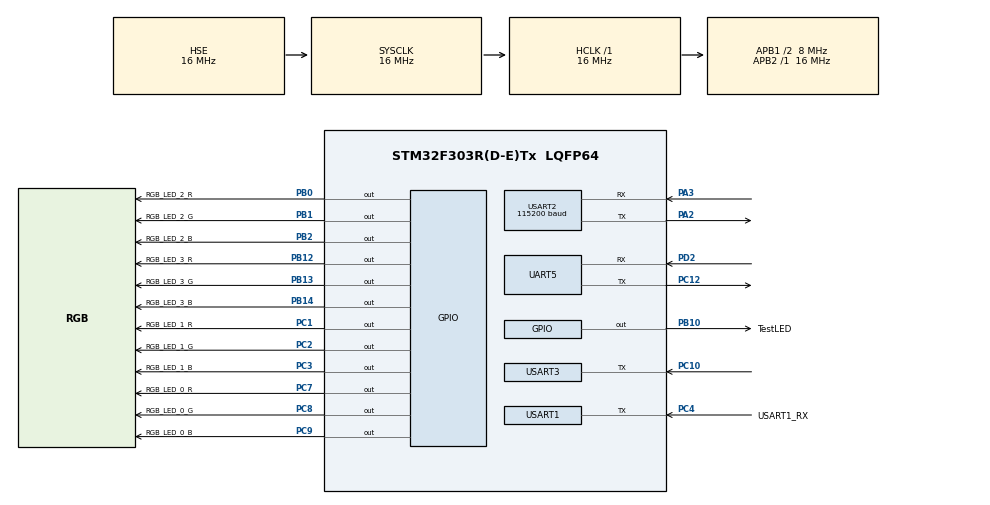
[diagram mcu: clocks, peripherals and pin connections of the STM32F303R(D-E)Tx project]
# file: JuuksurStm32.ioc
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Dma.Request0=USART2_TX
Dma.USART2_TX.0.Direction=DMA_MEMORY_TO_PERIPH
Dma.USART2_TX.0.Instance=DMA1_Channel7
Dma.USART2_TX.0.MemDataAlignment=DMA_MDATAALIGN_BYTE
Dma.USART2_TX.0.MemInc=DMA_MINC_ENABLE
Dma.USART2_TX.0.Mode=DMA_NORMAL
Dma.USART2_TX.0.PeriphDataAlignment=DMA_PDATAALIGN_BYTE
Dma.USART2_TX.0.PeriphInc=DMA_PINC_DISABLE
Dma.USART2_TX.0.Priority=DMA_PRIORITY_LOW
Mcu.Family=STM32F3
Mcu.Name=STM32F303R(D-E)Tx
Mcu.Package=LQFP64
NVIC.DMA1_Channel7_IRQn=true\:1\:0\:true\:false\:true\:false\:true\:true
NVIC.PriorityGroup=NVIC_PRIORITYGROUP_4
NVIC.TIM6_DAC_IRQn=true\:2\:0\:true\:false\:true\:true\:true\:true
NVIC.TIM7_IRQn=true\:2\:0\:true\:false\:true\:true\:true\:true
NVIC.UART5_IRQn=true\:0\:0\:false\:false\:true\:true\:true\:true
NVIC.USART2_IRQn=true\:0\:0\:false\:false\:true\:true\:true\:true
PA13.Mode=Serial_Wire
PA13.Signal=SYS_JTMS-SWDIO
PA14.Mode=Serial_Wire
PA14.Signal=SYS_JTCK-SWCLK
PA2.Mode=Asynchronous
PA2.Signal=USART2_TX
PA3.Mode=Asynchronous
PA3.Signal=USART2_RX
PB0.GPIO_Label=RGB_LED_2_R
PB0.Signal=GPIO_Output
PB1.GPIO_Label=RGB_LED_2_G
PB1.Signal=GPIO_Output
PB10.GPIO_Label=TestLED
PB10.Signal=GPIO_Output
PB11.Signal=USART3_RX
PB12.GPIO_Label=RGB_LED_3_R
PB12.Signal=GPIO_Output
PB13.GPIO_Label=RGB_LED_3_G
PB13.Signal=GPIO_Output
PB14.GPIO_Label=RGB_LED_3_B
PB14.Signal=GPIO_Output
PB2.GPIO_Label=RGB_LED_2_B
PB2.Signal=GPIO_Output
PC1.GPIO_Label=RGB_LED_1_R
PC1.Signal=GPIO_Output
PC10.Mode=Half_duplex(single_wire_mode)
PC10.Signal=USART3_TX
PC12.Mode=Asynchronous
PC12.Signal=UART5_TX
PC2.GPIO_Label=RGB_LED_1_G
PC2.Signal=GPIO_Output
PC3.GPIO_Label=RGB_LED_1_B
PC3.Signal=GPIO_Output
PC4.GPIO_Label=USART1_RX
PC4.Mode=Half_duplex(single_wire_mode)
PC4.Signal=USART1_TX
PC7.GPIO_Label=RGB_LED_0_R
PC7.Signal=GPIO_Output
PC8.GPIO_Label=RGB_LED_0_G
PC8.Signal=GPIO_Output
PC9.GPIO_Label=RGB_LED_0_B
PC9.Signal=GPIO_Output
PD2.Mode=Asynchronous
PD2.Signal=UART5_RX
PF0-OSC_IN.Mode=HSE-External-Oscillator
PF0-OSC_IN.Signal=RCC_OSC_IN
PF1-OSC_OUT.Mode=HSE-External-Oscillator
PF1-OSC_OUT.Signal=RCC_OSC_OUT
ProjectManager.HeapSize=0x200
ProjectManager.StackSize=0x400
ProjectManager.TargetToolchain=STM32CubeIDE
RCC.AHBFreq_Value=16000000
RCC.APB1CLKDivider=RCC_HCLK_DIV2
RCC.APB1Freq_Value=8000000
RCC.APB1TimFreq_Value=16000000
RCC.APB2Freq_Value=16000000
RCC.APB2TimFreq_Value=16000000
RCC.CortexFreq_Value=16000000
RCC.HCLKFreq_Value=16000000
RCC.HSE_VALUE=16000000
RCC.HSI_VALUE=8000000
RCC.LSE_VALUE=32768
RCC.PLLSourceVirtual=RCC_PLLSOURCE_HSE
RCC.SYSCLKFreq_VALUE=16000000
RCC.SYSCLKSourceVirtual=RCC_SYSCLKSOURCE_HSE
RCC.USBFreq_Value=32000000
TIM6.AutoReloadPreload=TIM_AUTORELOAD_PRELOAD_DISABLE
TIM6.Period=56000-1
TIM6.Prescaler=4-1
TIM7.AutoReloadPreload=TIM_AUTORELOAD_PRELOAD_DISABLE
TIM7.Period=53000-1
TIM7.Prescaler=4-1
USART1.Mode=MODE_RX
USART1.VirtualMode-Half_duplex(single_wire_mode)=VM_ASYNC
USART2.BaudRate=115200
USART2.VirtualMode-Asynchronous=VM_ASYNC
USART3.BaudRate=115200
USART3.Mode=MODE_RX
USART3.VirtualMode-Half_duplex(single_wire_mode)=VM_ASYNC
VP_TIM6_VS_ClockSourceINT.Mode=Enable_Timer
VP_TIM7_VS_ClockSourceINT.Mode=Enable_Timer
board=custom

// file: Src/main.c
/* USER CODE BEGIN Header */
/**
  ******************************************************************************
  * @file           : main.c
  * @brief          : Main program body
  ******************************************************************************
  ** This notice applies to any and all portions of this file
  * that are not between comment pairs USER CODE BEGIN and
  * USER CODE END. Other portions of this file, whether
  * inserted by the user or by software development tools
  * are owned by their respective copyright owners.
  *
  * COPYRIGHT(c) 2019 STMicroelectronics
  *
  * Redistribution and use in source and binary forms, with or without modification,
  * are permitted provided that the following conditions are met:
  *   1. Redistributions of source code must retain the above copyright notice,
  *      this list of conditions and the following disclaimer.
  *   2. Redistributions in binary form must reproduce the above copyright notice,
  *      this list of conditions and the following disclaimer in the documentation
  *      and/or other materials provided with the distribution.
  *   3. Neither the name of STMicroelectronics nor the names of its contributors
  *      may be used to endorse or promote products derived from this software
  *      without specific prior written permission.
  *
  * THIS SOFTWARE IS PROVIDED BY THE COPYRIGHT HOLDERS AND CONTRIBUTORS "AS IS"
  * AND ANY EXPRESS OR IMPLIED WARRANTIES, INCLUDING, BUT NOT LIMITED TO, THE
  * IMPLIED WARRANTIES OF MERCHANTABILITY AND FITNESS FOR A PARTICULAR PURPOSE ARE
  * DISCLAIMED. IN NO EVENT SHALL THE COPYRIGHT HOLDER OR CONTRIBUTORS BE LIABLE
  * FOR ANY DIRECT, INDIRECT, INCIDENTAL, SPECIAL, EXEMPLARY, OR CONSEQUENTIAL
  * DAMAGES (INCLUDING, BUT NOT LIMITED TO, PROCUREMENT OF SUBSTITUTE GOODS OR
  * SERVICES; LOSS OF USE, DATA, OR PROFITS; OR BUSINESS INTERRUPTION) HOWEVER
  * CAUSED AND ON ANY THEORY OF LIABILITY, WHETHER IN CONTRACT, STRICT LIABILITY,
  * OR TORT (INCLUDING NEGLIGENCE OR OTHERWISE) ARISING IN ANY WAY OUT OF THE USE
  * OF THIS SOFTWARE, EVEN IF ADVISED OF THE POSSIBILITY OF SUCH DAMAGE.
  *
  ******************************************************************************
  */
/* USER CODE END Header */
#include "main.h"
#include "dma.h"
#include "tim.h"
#include "usart.h"
#include "gpio.h"

/* USER CODE BEGIN Includes */
#include <math.h>
#include <stdio.h>
#include <ibus.h>
/* USER CODE END Includes */

/* USER CODE BEGIN PM */
#define DEG2RAD 0.01745329251f
/* USER CODE END PM */

/* USER CODE BEGIN PV */
IbusChannels rxChannels; // latest channel state from receiver
IbusChannels piChannels; // latest channel state from pi (autonomous)
IbusStm32State piIbus; // both rx and tx to pi
IbusStm32State rxIbus; // rx comes from receiver, tx goes to FC
IbusStm32State telIbus; // half-duplex UART to FC for telemetry
TfminiStm32State tfmini;
int16_t telYaw, telPitch, telRoll;
int16_t telAccX, telAccY, telAccZ;
void ibus_event(void *usrData, IbusEvent *e);
uint16_t realHeight;
uint16_t tfminiLast;
uint32_t lastPiData; // last tick we received control data from Pi
uint8_t failsafePrev; // was failsafe enabled last time we checked (for edge detection)
uint8_t manualPrev; // was manual mode enabled last time we checked? (for edge detection)
FailsafeState failsafe; // state for failsafe autohover

uint8_t errorOccured;

/* USER CODE END PV */

void SystemClock_Config(void);

int main(void)
{

  /* MCU Configuration--------------------------------------------------------*/

  /* Reset of all peripherals, Initializes the Flash interface and the Systick. */
  HAL_Init();

  /* USER CODE BEGIN Init */
  lastPiData = 0;
  failsafePrev = 0;
  manualPrev = 0;
  realHeight = 30;
  tfminiLast = 0;
  telRoll = 0;
  telPitch = 0;
  telYaw = 0;
  telAccX = 0;
  telAccY = 0;
  telAccZ = 985; // we expect to be on earth (9.85 m/s2)
  /* USER CODE END Init */

  /* Configure the system clock */
  SystemClock_Config();

  /* USER CODE BEGIN SysInit */
  HAL_Delay(50);
  /* USER CODE END SysInit */

  /* Initialize all configured peripherals */
  MX_GPIO_Init();
  MX_DMA_Init();
  MX_USART2_UART_Init();
  MX_TIM6_Init();
  MX_UART5_Init();
  MX_TIM7_Init();
  MX_USART3_UART_Init();
  MX_USART1_UART_Init();
  /* USER CODE BEGIN 2 */
    /*while (1) {
        // uint8_t wank = 0xAA;
        // HAL_UART_Transmit(&huart3, &wank, 1, 100);
        // HAL_GPIO_TogglePin(BOB2_GPIO_Port, BOB2_Pin);
        HAL_Delay(50);
    }*/
    /*
    // Manually init the pins for uart
    RCC->AHBENR |= RCC_AHBENR_GPIOAEN;
    GPIOB->MODER |= (2<<22); // PB11 alternate mode
    GPIOB->AFR[1] |= (7<<11); // PB11 alternate mode 7 should be uart. Probably. Maybe
    USART3->CR1 = 0x00; // Clear
    USART3->CR1 |= (1<<0); // Enable USART
    USART3->BRR =
     */

  /* USER CODE END 2 */

  /* Infinite loop */
  /* USER CODE BEGIN WHILE */

  // enabli pi
  //HAL_GPIO_WritePin(PiEnable_GPIO_Port, PiEnable_Pin, GPIO_PIN_SET);
    // while(1) HAL_UART_Transmit(&huart2, "Wanker\n\r", 8, 100);
    HAL_Delay(5);
  tfmini_stm32_init(&tfmini, &huart5);
  ibus_stm32_init(&piIbus, &huart2, 0);
  ibus_stm32_init(&rxIbus, &huart3, 0);
  ibus_stm32_init(&telIbus, &huart1, 1);

  ibus_set_event_callback(&piIbus.ibRx, ibus_event, &piIbus);
  ibus_set_event_callback(&rxIbus.ibRx, ibus_event, &rxIbus);
  ibus_set_event_callback(&telIbus.ibRx, ibus_event, &telIbus);

  // printf("\r\nstarting...\r\n");
  // start uart TX timer
  HAL_TIM_Base_Start_IT(&htim6);
  HAL_TIM_Base_Start_IT(&htim7);

  // initialize ibus channels to default value
  int i;
  for(i = 0; i < 14; i++) {
      rxChannels.channels[i] = IBUS_CHANNEL_DEFAULT;
  }
  for(i = 0; i < 14; i++) {
      piChannels.channels[i] = IBUS_CHANNEL_DEFAULT;
  }
  uint32_t curTick;

  while (1)
  {
    /* USER CODE END WHILE */

    /* USER CODE BEGIN 3 */
    curTick = HAL_GetTick();

    if((curTick % 2000) < 500){
    	HAL_GPIO_WritePin(RGB_LED_0_R_GPIO_Port, RGB_LED_0_R_Pin, GPIO_PIN_SET);
    	HAL_GPIO_WritePin(RGB_LED_1_R_GPIO_Port, RGB_LED_1_R_Pin, GPIO_PIN_SET);
    	HAL_GPIO_WritePin(RGB_LED_2_R_GPIO_Port, RGB_LED_2_R_Pin, GPIO_PIN_SET);
    	HAL_GPIO_WritePin(RGB_LED_3_R_GPIO_Port, RGB_LED_3_R_Pin, GPIO_PIN_SET);

    	HAL_GPIO_WritePin(RGB_LED_0_G_GPIO_Port, RGB_LED_0_G_Pin, GPIO_PIN_RESET);
		HAL_GPIO_WritePin(RGB_LED_1_G_GPIO_Port, RGB_LED_1_G_Pin, GPIO_PIN_RESET);
		HAL_GPIO_WritePin(RGB_LED_2_G_GPIO_Port, RGB_LED_2_G_Pin, GPIO_PIN_RESET);
		HAL_GPIO_WritePin(RGB_LED_3_G_GPIO_Port, RGB_LED_3_G_Pin, GPIO_PIN_RESET);

		HAL_GPIO_WritePin(RGB_LED_0_B_GPIO_Port, RGB_LED_0_B_Pin, GPIO_PIN_RESET);
		HAL_GPIO_WritePin(RGB_LED_1_B_GPIO_Port, RGB_LED_1_B_Pin, GPIO_PIN_RESET);
		HAL_GPIO_WritePin(RGB_LED_2_B_GPIO_Port, RGB_LED_2_B_Pin, GPIO_PIN_RESET);
		HAL_GPIO_WritePin(RGB_LED_3_B_GPIO_Port, RGB_LED_3_B_Pin, GPIO_PIN_RESET);
    }else if((curTick % 2000) < 1000){
    	HAL_GPIO_WritePin(RGB_LED_0_R_GPIO_Port, RGB_LED_0_R_Pin, GPIO_PIN_RESET);
		HAL_GPIO_WritePin(RGB_LED_1_R_GPIO_Port, RGB_LED_1_R_Pin, GPIO_PIN_RESET);
		HAL_GPIO_WritePin(RGB_LED_2_R_GPIO_Port, RGB_LED_2_R_Pin, GPIO_PIN_RESET);
		HAL_GPIO_WritePin(RGB_LED_3_R_GPIO_Port, RGB_LED_3_R_Pin, GPIO_PIN_RESET);

        HAL_GPIO_WritePin(RGB_LED_0_G_GPIO_Port, RGB_LED_0_G_Pin, GPIO_PIN_SET);
    	HAL_GPIO_WritePin(RGB_LED_1_G_GPIO_Port, RGB_LED_1_G_Pin, GPIO_PIN_SET);
    	HAL_GPIO_WritePin(RGB_LED_2_G_GPIO_Port, RGB_LED_2_G_Pin, GPIO_PIN_SET);
    	HAL_GPIO_WritePin(RGB_LED_3_G_GPIO_Port, RGB_LED_3_G_Pin, GPIO_PIN_SET);

    	HAL_GPIO_WritePin(RGB_LED_0_B_GPIO_Port, RGB_LED_0_B_Pin, GPIO_PIN_RESET);
		HAL_GPIO_WritePin(RGB_LED_1_B_GPIO_Port, RGB_LED_1_B_Pin, GPIO_PIN_RESET);
		HAL_GPIO_WritePin(RGB_LED_2_B_GPIO_Port, RGB_LED_2_B_Pin, GPIO_PIN_RESET);
		HAL_GPIO_WritePin(RGB_LED_3_B_GPIO_Port, RGB_LED_3_B_Pin, GPIO_PIN_RESET);
    }else if((curTick % 2000) < 1500){
    	HAL_GPIO_WritePin(RGB_LED_0_R_GPIO_Port, RGB_LED_0_R_Pin, GPIO_PIN_RESET);
		HAL_GPIO_WritePin(RGB_LED_1_R_GPIO_Port, RGB_LED_1_R_Pin, GPIO_PIN_RESET);
		HAL_GPIO_WritePin(RGB_LED_2_R_GPIO_Port, RGB_LED_2_R_Pin, GPIO_PIN_RESET);
		HAL_GPIO_WritePin(RGB_LED_3_R_GPIO_Port, RGB_LED_3_R_Pin, GPIO_PIN_RESET);

		HAL_GPIO_WritePin(RGB_LED_0_G_GPIO_Port, RGB_LED_0_G_Pin, GPIO_PIN_RESET);
		HAL_GPIO_WritePin(RGB_LED_1_G_GPIO_Port, RGB_LED_1_G_Pin, GPIO_PIN_RESET);
		HAL_GPIO_WritePin(RGB_LED_2_G_GPIO_Port, RGB_LED_2_G_Pin, GPIO_PIN_RESET);
		HAL_GPIO_WritePin(RGB_LED_3_G_GPIO_Port, RGB_LED_3_G_Pin, GPIO_PIN_RESET);

    	HAL_GPIO_WritePin(RGB_LED_0_B_GPIO_Port, RGB_LED_0_B_Pin, GPIO_PIN_SET);
		HAL_GPIO_WritePin(RGB_LED_1_B_GPIO_Port, RGB_LED_1_B_Pin, GPIO_PIN_SET);
		HAL_GPIO_WritePin(RGB_LED_2_B_GPIO_Port, RGB_LED_2_B_Pin, GPIO_PIN_SET);
		HAL_GPIO_WritePin(RGB_LED_3_B_GPIO_Port, RGB_LED_3_B_Pin, GPIO_PIN_SET);
    }else{
    	HAL_GPIO_WritePin(RGB_LED_0_R_GPIO_Port, RGB_LED_0_R_Pin, GPIO_PIN_SET);
		HAL_GPIO_WritePin(RGB_LED_1_R_GPIO_Port, RGB_LED_1_R_Pin, GPIO_PIN_SET);
		HAL_GPIO_WritePin(RGB_LED_2_R_GPIO_Port, RGB_LED_2_R_Pin, GPIO_PIN_SET);
		HAL_GPIO_WritePin(RGB_LED_3_R_GPIO_Port, RGB_LED_3_R_Pin, GPIO_PIN_SET);

		HAL_GPIO_WritePin(RGB_LED_0_G_GPIO_Port, RGB_LED_0_G_Pin, GPIO_PIN_SET);
		HAL_GPIO_WritePin(RGB_LED_1_G_GPIO_Port, RGB_LED_1_G_Pin, GPIO_PIN_SET);
		HAL_GPIO_WritePin(RGB_LED_2_G_GPIO_Port, RGB_LED_2_G_Pin, GPIO_PIN_SET);
		HAL_GPIO_WritePin(RGB_LED_3_G_GPIO_Port, RGB_LED_3_G_Pin, GPIO_PIN_SET);

    	HAL_GPIO_WritePin(RGB_LED_0_B_GPIO_Port, RGB_LED_0_B_Pin, GPIO_PIN_SET);
		HAL_GPIO_WritePin(RGB_LED_1_B_GPIO_Port, RGB_LED_1_B_Pin, GPIO_PIN_SET);
		HAL_GPIO_WritePin(RGB_LED_2_B_GPIO_Port, RGB_LED_2_B_Pin, GPIO_PIN_SET);
		HAL_GPIO_WritePin(RGB_LED_3_B_GPIO_Port, RGB_LED_3_B_Pin, GPIO_PIN_SET);
    }

    if(rxChannels.channels[AUTO_MODE_CH] < 1800) {
        HAL_GPIO_WritePin(TestLED_GPIO_Port, TestLED_Pin, (curTick%100)>50);
    } else {
        if((HAL_GetTick() - lastPiData) > 200) {
            HAL_GPIO_WritePin(TestLED_GPIO_Port, TestLED_Pin, (curTick%500)>250);
        }  else {
            HAL_GPIO_WritePin(TestLED_GPIO_Port, TestLED_Pin, GPIO_PIN_SET);
        }
    }
    ibus_stm32_process_rx(&piIbus);
    ibus_stm32_process_rx(&rxIbus);
    ibus_stm32_process_rx(&telIbus);
    tfmini_stm32_process_rx(&tfmini);
    char payload[200];
    int len = sprintf(payload, "Payload: ");
    HAL_UART_Transmit(&huart2, payload, len, 100);
    HAL_UART_Transmit(&huart2, (uint8_t*)"\n\rpiIbus: ", 2, 100);
    for (int i = 0; i < 28; ++i) {
        len = sprintf(payload, "%d ", piIbus.ibRx.payload[i]);
        HAL_UART_Transmit(&huart2, payload, len, 100);
    }
    HAL_UART_Transmit(&huart2, (uint8_t*)"\n\r rxIbus: ", 2, 100);
    for (int i = 0; i < 28; ++i) {
        len = sprintf(payload, "%d ", rxIbus.ibRx.payload[i]);
        HAL_UART_Transmit(&huart2, payload, len, 100);
    }
    HAL_UART_Transmit(&huart2, (uint8_t*)"\n\rtelIbus: ", 2, 100);
    for (int i = 0; i < 28; ++i) {
        len = sprintf(payload, "%d ", telIbus.ibRx.payload[i]);
        HAL_UART_Transmit(&huart2, payload, len, 100);
    }

    HAL_UART_Transmit(&huart2, (uint8_t*)"\n\r", 2, 100);

    uint8_t ringBuf[RBUF_SIZE];
    uint8_t prevBuf[RBUF_SIZE];
    uint8_t different = 0;
    HAL_UART_Receive(&huart3, ringBuf, IBUS_PACKET_SIZE, 100);
    uint8_t rBuf[200];
    len = sprintf(rBuf, "RBUF: ");
    HAL_UART_Transmit(&huart2, rBuf, len, 100);
    for (int i = 0; i < RBUF_SIZE; ++i) {
        if (prevBuf[i] != ringBuf[i]) {
            different = 1;
        }
        len = sprintf(rBuf, "%d ", ringBuf[i]);
        HAL_UART_Transmit(&huart2, rBuf, len, 100);
        prevBuf[i] = ringBuf[i];
    }

    if (different == 1) {
        HAL_UART_Transmit(&huart2, (uint8_t*)"\n\r", 2, 100);
        char rBuf[200];
        len = sprintf(rBuf, "Different: %d", different);
        HAL_UART_Transmit(&huart2, rBuf, len, 100);
    }

    HAL_UART_Transmit(&huart2, (uint8_t*)"\n\r", 2, 100);

    // uint8_t* thing = &rxIbus.ibRx.state;
    // PRINT STATE OF RXIBUS
    char value[20];
    int len1 = sprintf(value, "rxIbus state: %X", rxIbus.ibRx.state);
    HAL_UART_Transmit(&huart2, (uint8_t*)value, len1, 100);
    HAL_UART_Transmit(&huart2, (uint8_t*)"\n\r", 2, 100);

    // PRINT PAYLOAD OF RXIBUS
    uint8_t* what = &rxIbus.ibRx.payload;
    /*for (int i = 0; i < 28; i++) {
        char yep[20];
        int len = sprintf(yep, "rxIBus payload: %X\n\r", what[i]);

        HAL_UART_Transmit(&huart2, yep, len, 100);
    }*/
    char channel_chars[120];
    int channel_lens = sprintf(channel_chars, "rxIbus ");
    HAL_UART_Transmit(&huart2, (uint8_t*)channel_chars, channel_lens, 100);
    for(int i=0; i<14; i++) {
        channel_lens = snprintf(channel_chars, 120, "%u ", rxIbus.txCh.channels[i]);
        HAL_UART_Transmit(&huart2, (uint8_t*)channel_chars, channel_lens, 100);
    }
      HAL_UART_Transmit(&huart2, (uint8_t*)"\n\r", 2, 100);

    channel_lens = sprintf(channel_chars, "telIbus ");
    HAL_UART_Transmit(&huart2, (uint8_t*)channel_chars, channel_lens, 100);
    for(int i=0; i<14; i++) {
        channel_lens = snprintf(channel_chars, 120, "%u ", telIbus.txCh.channels[i]);
        HAL_UART_Transmit(&huart2, (uint8_t*)channel_chars, channel_lens, 100);
    }

    //channel_lens = sprintf(channel_chars, "\n");
    //HAL_UART_Transmit(&huart2, (uint8_t*)channel_chars, channel_lens, 100);
    HAL_UART_Transmit(&huart2, (uint8_t*)"\n\r", 2, 100);

      channel_lens = sprintf(channel_chars, "rxIbus ");
      HAL_UART_Transmit(&huart2, (uint8_t*)channel_chars, channel_lens, 100);
      for(int i=0; i<RBUF_SIZE; i++) {
          channel_lens = snprintf(channel_chars, 120, "%u ", rxIbus.ringBuf[i]);
          HAL_UART_Transmit(&huart2, (uint8_t*)channel_chars, channel_lens, 100);
      }
      HAL_UART_Transmit(&huart2, (uint8_t*)"\n\r", 2, 100);

      channel_lens = sprintf(channel_chars, "piIbus ");
      HAL_UART_Transmit(&huart2, (uint8_t*)channel_chars, channel_lens, 100);
      for(int i=0; i<RBUF_SIZE; i++) {
          channel_lens = snprintf(channel_chars, 120, "%u ", piIbus.ringBuf[i]);
          HAL_UART_Transmit(&huart2, (uint8_t*)channel_chars, channel_lens, 100);
      }
      HAL_UART_Transmit(&huart2, (uint8_t*)"\n\r", 2, 100);

      channel_lens = sprintf(channel_chars, "telIbus ");
      HAL_UART_Transmit(&huart2, (uint8_t*)channel_chars, channel_lens, 100);
      for(int i=0; i<RBUF_SIZE; i++) {
          channel_lens = snprintf(channel_chars, 120, "%u ", telIbus.ringBuf[i]);
          HAL_UART_Transmit(&huart2, (uint8_t*)channel_chars, channel_lens, 100);
      }
      HAL_UART_Transmit(&huart2, (uint8_t*)"\n\r", 2, 100);

      channel_lens = sprintf(channel_chars, "rxChannels ");
      HAL_UART_Transmit(&huart2, (uint8_t*)channel_chars, channel_lens, 100);
      for(int i=0; i<14; i++) {
          channel_lens = snprintf(channel_chars, 120, "%u ", rxChannels.channels[i]);
          HAL_UART_Transmit(&huart2, (uint8_t*)channel_chars, channel_lens, 100);
      }
      HAL_UART_Transmit(&huart2, (uint8_t*)"\n\r", 2, 100);

      // PRINT CUR CMD OF RXIBUS
    uint8_t* yeep = &rxIbus.ibRx.curCmd;
    char no[20];
    int len2 = sprintf(no, "rxIBus curCMD: %X%X\n\r", yeep[0], yeep[1]);
      HAL_UART_Transmit(&huart2, no, len2, 100);

    uint8_t* wank = &telIbus;

    HAL_UART_Transmit(&huart2, "\n\r", 2, 100);
    for (int i = 0; i < sizeof(IbusStm32State); i++) {
        if (wank[i] == 0) continue;
        char cunt[20];
        int len = sprintf(cunt, "%X", wank[i]);
        HAL_UART_Transmit(&huart2, cunt, len, 100);
    }
    HAL_UART_Transmit(&huart2, "\n\r", 2, 100);
    HAL_Delay(1000);

    char fuck[200];
    len = sprintf(fuck, "%X\n\r", telIbus.rxData);
    HAL_UART_Transmit(&huart2, fuck, len, 100);
    HAL_Delay(1000);

    //tsprintf(bigAssThing, "Start %d\n\r%d\n\r%d\n\r%d\n\r%d\n\r%d\n\r%d\n\r%d\n\r", piIbus.halfDuplex, piIbus.txBusy,
    //piIbus.rxData, piIbus.rxReadPos, piIbus.rxWritePos
    //)

    if(tfminiLast != tfmini.tfmini.dist) {
        realHeight = (uint16_t)(cosf((((float)telRoll*100.0f)*DEG2RAD)) * cosf(((float)telPitch*100.0f)*DEG2RAD) * tfmini.tfmini.dist);
        tfminiLast = tfmini.tfmini.dist;
    }

  }
  /* USER CODE END 3 */
}

void SystemClock_Config(void)
{
  RCC_OscInitTypeDef RCC_OscInitStruct = {0};
  RCC_ClkInitTypeDef RCC_ClkInitStruct = {0};
  RCC_PeriphCLKInitTypeDef PeriphClkInit = {0};

  /** Initializes the RCC Oscillators according to the specified parameters
  * in the RCC_OscInitTypeDef structure.
  */
  RCC_OscInitStruct.OscillatorType = RCC_OSCILLATORTYPE_HSE;
  RCC_OscInitStruct.HSEState = RCC_HSE_ON;
  RCC_OscInitStruct.HSIState = RCC_HSI_ON;
  RCC_OscInitStruct.PLL.PLLState = RCC_PLL_NONE;
  if (HAL_RCC_OscConfig(&RCC_OscInitStruct) != HAL_OK)
  {
    Error_Handler();
  }

  /** Initializes the CPU, AHB and APB buses clocks
  */
  RCC_ClkInitStruct.ClockType = RCC_CLOCKTYPE_HCLK|RCC_CLOCKTYPE_SYSCLK
                              |RCC_CLOCKTYPE_PCLK1|RCC_CLOCKTYPE_PCLK2;
  RCC_ClkInitStruct.SYSCLKSource = RCC_SYSCLKSOURCE_HSE;
  RCC_ClkInitStruct.AHBCLKDivider = RCC_SYSCLK_DIV1;
  RCC_ClkInitStruct.APB1CLKDivider = RCC_HCLK_DIV2;
  RCC_ClkInitStruct.APB2CLKDivider = RCC_HCLK_DIV1;

  if (HAL_RCC_ClockConfig(&RCC_ClkInitStruct, FLASH_LATENCY_0) != HAL_OK)
  {
    Error_Handler();
  }
  PeriphClkInit.PeriphClockSelection = RCC_PERIPHCLK_USART1|RCC_PERIPHCLK_USART2
                              |RCC_PERIPHCLK_USART3|RCC_PERIPHCLK_UART5;
  PeriphClkInit.Usart1ClockSelection = RCC_USART1CLKSOURCE_PCLK2;
  PeriphClkInit.Usart2ClockSelection = RCC_USART2CLKSOURCE_PCLK1;
  PeriphClkInit.Usart3ClockSelection = RCC_USART3CLKSOURCE_PCLK1;
  PeriphClkInit.Uart5ClockSelection = RCC_UART5CLKSOURCE_PCLK1;
  if (HAL_RCCEx_PeriphCLKConfig(&PeriphClkInit) != HAL_OK)
  {
    Error_Handler();
  }
}

/* USER CODE BEGIN 4 */

int __io_putchar(int ch)
{
    //110
  //uint8_t c[1];
  //c[0] = ch & 0xFF;
  //HAL_UART_Transmit(&huart5, &*c, 1, 10);
  return ch;
}

// this is used for libc stdio (printf etc)
int _write(int file,char *ptr, int len)
{
  int DataIdx;
  for(DataIdx= 0; DataIdx< len; DataIdx++)
  {
    __io_putchar(*ptr++);
  }
  return len;
}

// NOTE: this should always be called from main not an interrupt
void ibus_event(void *usrData, IbusEvent *e) {
  if(usrData == &piIbus) {
    // printf("pi event!\r\n");
    switch(e->type) {
        case IBUS_CMD_CH:
            piChannels = e->e.ch;
            lastPiData = HAL_GetTick();
            // printf("pi ch: %d %d %d %d\r\n", e->e.ch.channels[0], e->e.ch.channels[1], e->e.ch.channels[2], e->e.ch.channels[3]);
            break;
        case IBUS_CMD_ERROR:
            errorOccured = 1;
            break;
    }
  } else if(usrData == &rxIbus) {
    switch(e->type) {
        case IBUS_CMD_CH:
            rxChannels = e->e.ch;
            // printf("rx channels: %d %d %d %d %d\r\n", e->e.ch.channels[0], e->e.ch.channels[1], e->e.ch.channels[2], e->e.ch.channels[3], e->e.ch.channels[5]);
            break;
    }
  } else if(usrData == &telIbus) {
      int sensor;
      int nextSensor = 1;
      switch(e->type) {
          case IBUS_CMD_SENSOR_MEASUREMENT:
              sensor = e->e.smeas.sensorId;
              nextSensor = sensor+1;
              if(nextSensor > 1 && nextSensor <= 6) { // 1 - roll, 2- pitch, 3 - yaw, 4 - accX, 5 - accY, 6 - accZ
                  send_telemetry_sensor_request(&telIbus, nextSensor);
              }
              // NOTE: ideally we would do discovery, but aint nobody got time for that

              switch(sensor) {
                  case 1: // roll
                    telRoll = e->e.smeas.meas; // angle*100
                    break;
                  case 2: // pitch
                    telPitch = e->e.smeas.meas;
                    break;
                  case 3: // yaw
                    telYaw = e->e.smeas.meas;
                    break;
                  case 4:
                    telAccX = e->e.smeas.meas;
                    break;
                  case 5:
                    telAccY = e->e.smeas.meas;
                    break;
                  case 6:
                    telAccZ = e->e.smeas.meas;
                    break;
              }
              break;
      }
  }
}

/* USER CODE END 4 */

void Error_Handler(void)
{
}
